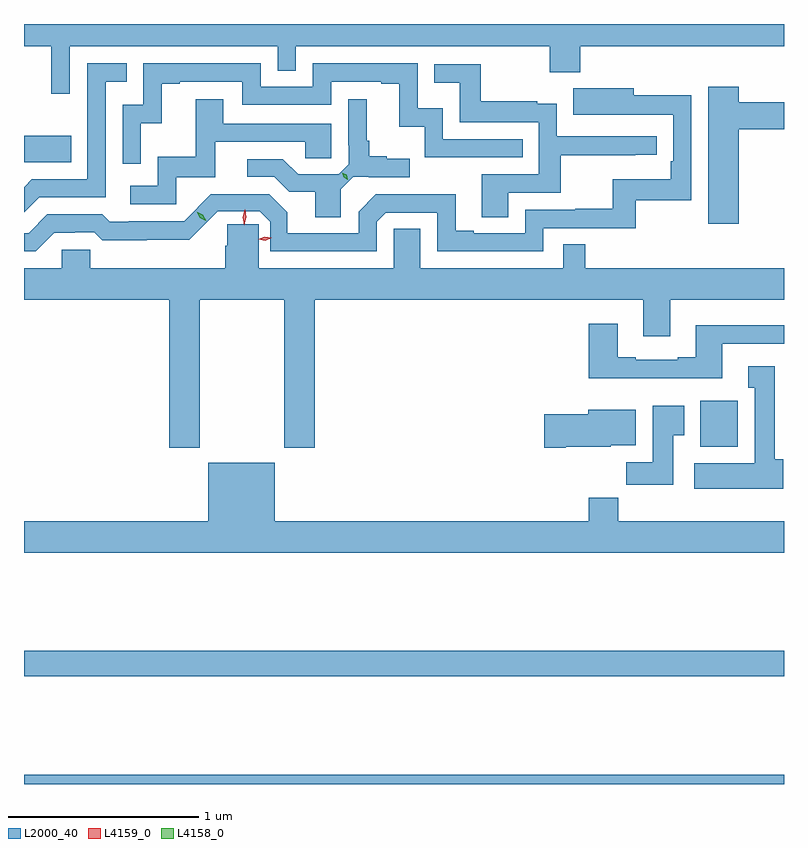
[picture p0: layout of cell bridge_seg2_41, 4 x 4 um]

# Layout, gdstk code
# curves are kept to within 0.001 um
import gdstk
lib = gdstk.Library(unit=1e-6, precision=1e-09)
def R(c, l, rs):  # rectangles x0, y0, x1, y1
    for r in rs: c.add(gdstk.rectangle(r[:2], r[2:], *l))
def P(c, l, *ps):  # polygons
    for p in ps: c.add(gdstk.Polygon(p, *l))
L2000_40 = (2000, 40)
L4158_0 = (4158, 0)
L4159_0 = (4159, 0)

bridge_seg2_41 = lib.new_cell('bridge_seg2_41')
R(bridge_seg2_41, L2000_40, [(1011.099,631.766,1015.099,631.816), (1011.099,632.332,1015.099,632.468), (1014.659,633.542,1014.856,633.784), (1011.099,635.039,1011.347,635.179)])
P(bridge_seg2_41, L2000_40, [(1011.339,635.648),(1012.434,635.648),(1012.434,635.521),(1012.53,635.521),(1012.53,635.648),(1013.866,635.648),(1013.866,635.513),(1014.026,635.513),(1014.026,635.648),(1015.099,635.648),(1015.099,635.766),(1011.099,635.766),(1011.099,635.648),(1011.242,635.648),(1011.242,635.4),(1011.339,635.4)],
  [(1011.714,635.243),(1011.824,635.243),(1011.824,635.451),(1011.919,635.451),(1011.919,635.463),(1012.248,635.463),(1012.248,635.34),(1012.716,635.34),(1012.716,635.463),(1012.979,635.463),(1012.979,635.451),(1013.075,635.451),(1013.075,635.225),(1013.208,635.225),(1013.208,635.064),(1013.723,635.064),(1013.723,635.16),(1013.304,635.16),(1013.304,635.323),(1013.172,635.323),(1013.172,635.559),(1012.62,635.559),(1012.62,635.436),(1012.344,635.436),(1012.344,635.559),(1011.726,635.559),(1011.726,635.34),(1011.618,635.34),(1011.618,635.031),(1011.714,635.031)],
  [(1011.178,634.854),(1011.528,634.854),(1011.528,635.463),(1011.641,635.463),(1011.641,635.559),(1011.432,635.559),(1011.432,634.95),(1011.141,634.95),(1011.099,634.908),(1011.099,634.775)],
  [(1013.647,634.878),(1013.924,634.878),(1013.924,635.074),(1014.317,635.074),(1014.317,635.079),(1014.43,635.079),(1014.43,635.175),(1013.904,635.175),(1013.904,635.347),(1013.801,635.347),(1013.801,635.359),(1013.503,635.359),(1013.503,635.553),(1013.257,635.553),(1013.257,635.456),(1013.392,635.456),(1013.392,635.25),(1013.808,635.25),(1013.808,634.974),(1013.507,634.974),(1013.507,634.75),(1013.647,634.75)],
  [(1014.862,635.213),(1015.099,635.213),(1015.099,635.355),(1014.862,635.355),(1014.862,635.437),(1014.701,635.437),(1014.701,634.716),(1014.862,634.716)],
  [(1011.259,634.668),(1011.366,634.668),(1011.366,634.671),(1011.469,634.671),(1011.511,634.629),(1011.744,634.629),(1011.744,634.631),(1011.97,634.631),(1012.12,634.781),(1012.339,634.781),(1012.394,634.726),(1012.394,634.569),(1012.956,634.569),(1012.956,634.725),(1013.004,634.773),(1013.274,634.773),(1013.274,634.569),(1013.832,634.569),(1013.832,634.692),(1014.319,634.692),(1014.319,634.839),(1014.612,634.839),(1014.612,635.39),(1014.307,635.39),(1014.307,635.428),(1013.989,635.428),(1013.989,635.288),(1014.516,635.289),(1014.516,635.044),(1014.503,635.044),(1014.503,634.948),(1014.198,634.948),(1014.198,634.793),(1014.001,634.793),(1014.001,634.788),(1013.736,634.788),(1013.736,634.665),(1013.467,634.665),(1013.467,634.678),(1013.371,634.678),(1013.371,634.871),(1013.166,634.871),(1013.166,634.869),(1012.95,634.869),(1012.86,634.779),(1012.86,634.665),(1012.484,634.665),(1012.484,634.774),(1012.389,634.869),(1012.083,634.869),(1011.942,634.728),(1011.649,634.728),(1011.649,634.725),(1011.55,634.725),(1011.511,634.764),(1011.222,634.764),(1011.123,634.665),(1011.099,634.665),(1011.099,634.569),(1011.16,634.569)],
  [(1012.767,634.897),(1012.832,634.962),(1012.914,634.962),(1012.914,634.959),(1013.128,634.959),(1013.128,635.056),(1013.007,635.056),(1013.007,635.07),(1012.917,635.07),(1012.917,635.152),(1012.903,635.152),(1012.903,635.371),(1012.806,635.371),(1012.806,635.128),(1012.809,635.128),(1012.809,635.028),(1012.755,634.974),(1012.543,634.974),(1012.462,635.055),(1012.275,635.055),(1012.275,634.962),(1012.416,634.962),(1012.496,634.882),(1012.631,634.882),(1012.631,634.75),(1012.767,634.75)],
  [(1011.9,634.959),(1012.105,634.959),(1012.105,635.145),(1012.579,635.145),(1012.579,635.06),(1012.716,635.06),(1012.716,635.241),(1012.147,635.241),(1012.147,635.371),(1012.003,635.371),(1012.003,635.068),(1011.804,635.068),(1011.804,634.914),(1011.657,634.914),(1011.657,634.818),(1011.9,634.818)],
  [(1012.023,634.316),(1012.468,634.316),(1012.468,633.537),(1012.628,633.537),(1012.628,634.316),(1014.359,634.316),(1014.359,634.122),(1014.499,634.122),(1014.499,634.316),(1015.099,634.316),(1015.099,634.48),(1014.053,634.48),(1014.053,634.607),(1013.937,634.607),(1013.937,634.48),(1013.185,634.48),(1013.185,634.688),(1013.046,634.688),(1013.046,634.48),(1012.334,634.48),(1012.334,634.711),(1012.169,634.711),(1012.169,634.6),(1012.157,634.6),(1012.157,634.48),(1011.447,634.48),(1011.447,634.578),(1011.297,634.578),(1011.297,634.48),(1011.099,634.48),(1011.099,634.316),(1011.863,634.316),(1011.863,633.537),(1012.023,633.537)],
  [(1014.775,634.083),(1015.099,634.083),(1015.099,634.18),(1014.635,634.18),(1014.635,634.012),(1014.539,634.012),(1014.539,633.999),(1014.319,633.999),(1014.319,634.012),(1014.223,634.012),(1014.223,634.189),(1014.071,634.189),(1014.071,633.902),(1014.775,633.902)],
  [(1015.096,633.474),(1015.051,633.474),(1015.051,633.964),(1014.911,633.964),(1014.911,633.851),(1014.944,633.851),(1014.944,633.454),(1014.627,633.454),(1014.627,633.32),(1015.096,633.32)],
  [(1014.517,633.601),(1014.574,633.601),(1014.574,633.757),(1014.407,633.757),(1014.407,633.46),(1014.268,633.46),(1014.268,633.342),(1014.517,633.342)],
  [(1013.95,633.542),(1014.186,633.542),(1014.186,633.548),(1014.319,633.548),(1014.319,633.736),(1014.068,633.736),(1014.068,633.713),(1013.838,633.713),(1013.838,633.535),(1013.95,633.535)],
  [(1015.099,633.148),(1014.227,633.148),(1014.227,633.272),(1014.071,633.272),(1014.071,633.148),(1012.42,633.148),(1012.42,633.457),(1012.07,633.457),(1012.07,633.148),(1011.099,633.148),(1011.099,632.984),(1015.099,632.984)])
P(bridge_seg2_41, L4158_0, [(1012.804,634.947),(1012.781,634.959),(1012.774,634.984),(1012.774,634.984),(1012.774,634.984),(1012.797,634.972),(1012.804,634.947),(1012.804,634.947)],
  [(1012.056,634.73),(1012.025,634.747),(1012.007,634.778),(1012.007,634.779),(1012.008,634.779),(1012.039,634.762),(1012.057,634.731),(1012.057,634.73)])
P(bridge_seg2_41, L4159_0, [(1012.368,634.626),(1012.331,634.632),(1012.331,634.632),(1012.331,634.632),(1012.366,634.646),(1012.403,634.641),(1012.403,634.641),(1012.403,634.64)],
  [(1012.257,634.708),(1012.257,634.708),(1012.25,634.749),(1012.262,634.789),(1012.262,634.789),(1012.263,634.789),(1012.27,634.748),(1012.257,634.708)])

lib.write_gds('bridge_seg2_41.gds')
